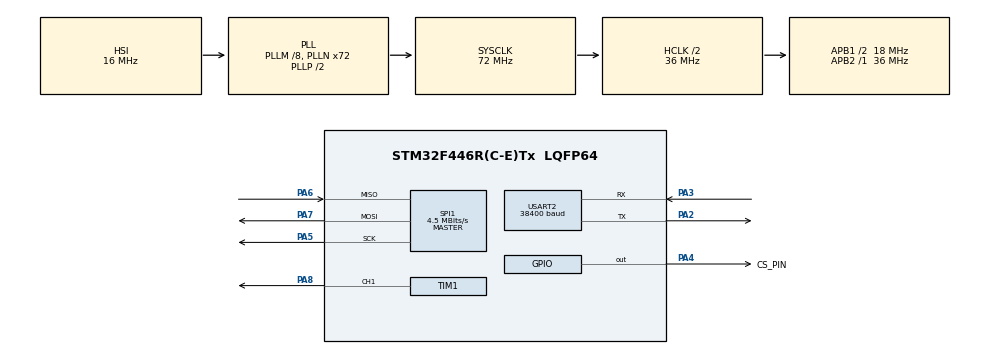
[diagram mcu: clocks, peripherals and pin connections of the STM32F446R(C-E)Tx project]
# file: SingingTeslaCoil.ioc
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FREERTOS.HEAP_NUMBER=4
FREERTOS.Mutexes01=USART_lock,Dynamic,NULL,Available
FREERTOS.Queues01=NoteQueue1,64,note,0,Dynamic,NULL,NULL
FREERTOS.Tasks01=ParseMidi,0,128,StartParseMidi,Default,ctrl,Dynamic,NULL,NULL;AudioOutput,0,128,StartAudioOutput,Default,ctrl,Dynamic,NULL,NULL
FREERTOS.configENABLE_FPU=1
Mcu.Family=STM32F4
Mcu.Name=STM32F446R(C-E)Tx
Mcu.Package=LQFP64
NVIC.PriorityGroup=NVIC_PRIORITYGROUP_4
NVIC.TIM8_TRG_COM_TIM14_IRQn=true\:15\:0\:false\:false\:true\:false\:false\:true\:true
NVIC.TimeBase=TIM8_TRG_COM_TIM14_IRQn
NVIC.TimeBaseIP=TIM14
PA2.Mode=Asynchronous
PA2.Signal=USART2_TX
PA3.Mode=Asynchronous
PA3.Signal=USART2_RX
PA4.GPIO_Label=CS_PIN
PA4.GPIO_Speed=GPIO_SPEED_FREQ_LOW
PA4.Signal=GPIO_Output
PA5.Mode=Full_Duplex_Master
PA5.Signal=SPI1_SCK
PA6.Mode=Full_Duplex_Master
PA6.Signal=SPI1_MISO
PA7.Mode=Full_Duplex_Master
PA7.Signal=SPI1_MOSI
PA8.Signal=S_TIM1_CH1
ProjectManager.HeapSize=0x200
ProjectManager.StackSize=0x400
ProjectManager.TargetToolchain=STM32CubeIDE
RCC.AHBCLKDivider=RCC_SYSCLK_DIV2
RCC.AHBFreq_Value=36000000
RCC.APB1CLKDivider=RCC_HCLK_DIV2
RCC.APB1Freq_Value=18000000
RCC.APB1TimFreq_Value=36000000
RCC.APB2Freq_Value=36000000
RCC.APB2TimFreq_Value=36000000
RCC.CortexFreq_Value=36000000
RCC.HCLKFreq_Value=36000000
RCC.PLLM=8
RCC.PLLN=72
RCC.SYSCLKFreq_VALUE=72000000
RCC.SYSCLKSource=RCC_SYSCLKSOURCE_PLLCLK
RCC.USBFreq_Value=72000000
RCC.VCOOutputFreq_Value=144000000
SH.S_TIM1_CH1.0=TIM1_CH1,PWM Generation1 CH1
SPI1.BaudRatePrescaler=SPI_BAUDRATEPRESCALER_8
SPI1.CalculateBaudRate=4.5 MBits/s
SPI1.Direction=SPI_DIRECTION_2LINES
SPI1.Mode=SPI_MODE_MASTER
SPI1.VirtualType=VM_MASTER
TIM1.Channel-PWM\ Generation1\ CH1=TIM_CHANNEL_1
TIM1.Period=1000
TIM1.Prescaler=18000
USART2.BaudRate=38400
USART2.VirtualMode=VM_ASYNC
VP_FATFS_VS_Generic.Mode=User_defined
VP_FREERTOS_VS_CMSIS_V1.Mode=CMSIS_V1
VP_SYS_VS_tim14.Mode=TIM14
board=custom

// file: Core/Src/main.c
/* USER CODE BEGIN Header */
/**
  ******************************************************************************
  * @file           : main.c
  * @brief          : Main program body
  ******************************************************************************
  * @attention
  *
  * Copyright (c) 2025 STMicroelectronics.
  * All rights reserved.
  *
  * This software is licensed under terms that can be found in the LICENSE file
  * in the root directory of this software component.
  * If no LICENSE file comes with this software, it is provided AS-IS.
  *
  ******************************************************************************
  */
/* USER CODE END Header */
#include "main.h"
#include "cmsis_os.h"
#include "fatfs.h"

/* USER CODE BEGIN Includes */
#include <stdint.h>
#include <stdio.h>
#include <stdlib.h>
#include <math.h>

#include "common.h"
#include "midi_event.h"
#include "utils.h"

/* USER CODE END Includes */

SPI_HandleTypeDef hspi1;

TIM_HandleTypeDef htim1;

UART_HandleTypeDef huart2;

osThreadId ParseMidiHandle;
osThreadId AudioOutputHandle;
osMessageQId NoteQueue1Handle;
osMutexId USART_lockHandle;

void SystemClock_Config(void);
static void MX_GPIO_Init(void);
static void MX_USART2_UART_Init(void);
static void MX_SPI1_Init(void);
static void MX_TIM1_Init(void);
void StartParseMidi(void const * argument);
void StartAudioOutput(void const * argument);

int main(void)
{

  /* USER CODE BEGIN 1 */
  void* arg;

  /* USER CODE END 1 */

  /* MCU Configuration--------------------------------------------------------*/

  /* Reset of all peripherals, Initializes the Flash interface and the Systick. */
  HAL_Init();

  /* Configure the system clock */
  SystemClock_Config();

  /* Initialize all configured peripherals */
  MX_GPIO_Init();
  MX_USART2_UART_Init();
  MX_FATFS_Init();
  MX_SPI1_Init();
  MX_TIM1_Init();

  /* Create the mutex(es) */
  /* definition and creation of USART_lock */
  osMutexDef(USART_lock);
  USART_lockHandle = osMutexCreate(osMutex(USART_lock));

  /* USER CODE BEGIN RTOS_MUTEX */

  FIL fp;        // for midi file operation
  FATFS FatFs; 	//Fatfs handle
  MIDI_header_chunk hdr; // to container header info
  FRESULT res;
  MIDI_controller *ctrl = malloc(sizeof(MIDI_controller));

  // uint8_t i = 0;

  osDelay(1000);

  res = f_mount(&FatFs, "/", 1); //1=mount now
       if (res != FR_OK) {
     	myprintf("f_mount error (%i)\r\n", res);
     	while(1);
       }

  /*list of songs currently on the sd card
   * twinkle.mid --> no chords && format 0
   * gerudo.mid --> TONS of chords (3 notes) && format 1
   * mario.mid --> unkown midi event 10
   * shoveit.mid --> broken as well
   * */
  res = f_open(&fp, "twinkle.mid", FA_READ | FA_WRITE);

  if (res != FR_OK)
  {
      myprintf("fopen error: %d\n", res);
      while(1);
  }

  hdr = parse_midi_header(&fp, hdr); // grabs header info

  ctrl->format = hdr.format;
  if(hdr.format == 0){
	  ctrl->trk_buf = &fp;
  }
  /* add mutexes, ... */
  /* USER CODE END RTOS_MUTEX */

  /* Create the queue(s) */
  /* definition and creation of NoteQueue1 */
  osMessageQDef(NoteQueue1, 64, note);
  NoteQueue1Handle = osMessageCreate(osMessageQ(NoteQueue1), NULL);

  /* Create the thread(s) */
  /* definition and creation of ParseMidi */
  osThreadDef(ParseMidi, StartParseMidi, osPriorityNormal, 0, 128);
  ParseMidiHandle = osThreadCreate(osThread(ParseMidi), (void*) ctrl);

  /* definition and creation of AudioOutput */
  osThreadDef(AudioOutput, StartAudioOutput, osPriorityNormal, 0, 128);
  AudioOutputHandle = osThreadCreate(osThread(AudioOutput), (void*) ctrl);

  /* USER CODE BEGIN RTOS_THREADS */
  /* add threads, ... */

  //might need to add a list of queues

//  myprintf("beofre parse start");
//
//  StartParseMidi(&NoteQueue1Handle);
//
//  myprintf("beofre audio output start");
//
//  StartAudioOutput(&NoteQueue1Handle);

  /* USER CODE END RTOS_THREADS */

  /* Start scheduler */
  osKernelStart();

  /* We should never get here as control is now taken by the scheduler */

  /* Infinite loop */
  while (1)
  {

  }
}

void SystemClock_Config(void)
{
  RCC_OscInitTypeDef RCC_OscInitStruct = {0};
  RCC_ClkInitTypeDef RCC_ClkInitStruct = {0};

  /** Configure the main internal regulator output voltage
  */
  __HAL_RCC_PWR_CLK_ENABLE();
  __HAL_PWR_VOLTAGESCALING_CONFIG(PWR_REGULATOR_VOLTAGE_SCALE3);

  /** Initializes the RCC Oscillators according to the specified parameters
  * in the RCC_OscInitTypeDef structure.
  */
  RCC_OscInitStruct.OscillatorType = RCC_OSCILLATORTYPE_HSI;
  RCC_OscInitStruct.HSIState = RCC_HSI_ON;
  RCC_OscInitStruct.HSICalibrationValue = RCC_HSICALIBRATION_DEFAULT;
  RCC_OscInitStruct.PLL.PLLState = RCC_PLL_ON;
  RCC_OscInitStruct.PLL.PLLSource = RCC_PLLSOURCE_HSI;
  RCC_OscInitStruct.PLL.PLLM = 8;
  RCC_OscInitStruct.PLL.PLLN = 72;
  RCC_OscInitStruct.PLL.PLLP = RCC_PLLP_DIV2;
  RCC_OscInitStruct.PLL.PLLQ = 2;
  RCC_OscInitStruct.PLL.PLLR = 2;
  if (HAL_RCC_OscConfig(&RCC_OscInitStruct) != HAL_OK)
  {
    Error_Handler();
  }

  /** Initializes the CPU, AHB and APB buses clocks
  */
  RCC_ClkInitStruct.ClockType = RCC_CLOCKTYPE_HCLK|RCC_CLOCKTYPE_SYSCLK
                              |RCC_CLOCKTYPE_PCLK1|RCC_CLOCKTYPE_PCLK2;
  RCC_ClkInitStruct.SYSCLKSource = RCC_SYSCLKSOURCE_PLLCLK;
  RCC_ClkInitStruct.AHBCLKDivider = RCC_SYSCLK_DIV2;
  RCC_ClkInitStruct.APB1CLKDivider = RCC_HCLK_DIV2;
  RCC_ClkInitStruct.APB2CLKDivider = RCC_HCLK_DIV1;

  if (HAL_RCC_ClockConfig(&RCC_ClkInitStruct, FLASH_LATENCY_1) != HAL_OK)
  {
    Error_Handler();
  }
}

static void MX_SPI1_Init(void)
{

  /* SPI1 parameter configuration*/
  hspi1.Instance = SPI1;
  hspi1.Init.Mode = SPI_MODE_MASTER;
  hspi1.Init.Direction = SPI_DIRECTION_2LINES;
  hspi1.Init.DataSize = SPI_DATASIZE_8BIT;
  hspi1.Init.CLKPolarity = SPI_POLARITY_LOW;
  hspi1.Init.CLKPhase = SPI_PHASE_1EDGE;
  hspi1.Init.NSS = SPI_NSS_SOFT;
  hspi1.Init.BaudRatePrescaler = SPI_BAUDRATEPRESCALER_8;
  hspi1.Init.FirstBit = SPI_FIRSTBIT_MSB;
  hspi1.Init.TIMode = SPI_TIMODE_DISABLE;
  hspi1.Init.CRCCalculation = SPI_CRCCALCULATION_DISABLE;
  hspi1.Init.CRCPolynomial = 10;
  if (HAL_SPI_Init(&hspi1) != HAL_OK)
  {
    Error_Handler();
  }

}

static void MX_TIM1_Init(void)
{

  TIM_MasterConfigTypeDef sMasterConfig = {0};
  TIM_OC_InitTypeDef sConfigOC = {0};
  TIM_BreakDeadTimeConfigTypeDef sBreakDeadTimeConfig = {0};

  htim1.Instance = TIM1;
  htim1.Init.Prescaler = 18000;
  htim1.Init.CounterMode = TIM_COUNTERMODE_UP;
  htim1.Init.Period = 1000;
  htim1.Init.ClockDivision = TIM_CLOCKDIVISION_DIV1;
  htim1.Init.RepetitionCounter = 0;
  htim1.Init.AutoReloadPreload = TIM_AUTORELOAD_PRELOAD_DISABLE;
  if (HAL_TIM_PWM_Init(&htim1) != HAL_OK)
  {
    Error_Handler();
  }
  sMasterConfig.MasterOutputTrigger = TIM_TRGO_RESET;
  sMasterConfig.MasterSlaveMode = TIM_MASTERSLAVEMODE_DISABLE;
  if (HAL_TIMEx_MasterConfigSynchronization(&htim1, &sMasterConfig) != HAL_OK)
  {
    Error_Handler();
  }
  sConfigOC.OCMode = TIM_OCMODE_PWM1;
  sConfigOC.Pulse = 0;
  sConfigOC.OCPolarity = TIM_OCPOLARITY_HIGH;
  sConfigOC.OCNPolarity = TIM_OCNPOLARITY_HIGH;
  sConfigOC.OCFastMode = TIM_OCFAST_DISABLE;
  sConfigOC.OCIdleState = TIM_OCIDLESTATE_RESET;
  sConfigOC.OCNIdleState = TIM_OCNIDLESTATE_RESET;
  if (HAL_TIM_PWM_ConfigChannel(&htim1, &sConfigOC, TIM_CHANNEL_1) != HAL_OK)
  {
    Error_Handler();
  }
  sBreakDeadTimeConfig.OffStateRunMode = TIM_OSSR_DISABLE;
  sBreakDeadTimeConfig.OffStateIDLEMode = TIM_OSSI_DISABLE;
  sBreakDeadTimeConfig.LockLevel = TIM_LOCKLEVEL_OFF;
  sBreakDeadTimeConfig.DeadTime = 0;
  sBreakDeadTimeConfig.BreakState = TIM_BREAK_DISABLE;
  sBreakDeadTimeConfig.BreakPolarity = TIM_BREAKPOLARITY_HIGH;
  sBreakDeadTimeConfig.AutomaticOutput = TIM_AUTOMATICOUTPUT_DISABLE;
  if (HAL_TIMEx_ConfigBreakDeadTime(&htim1, &sBreakDeadTimeConfig) != HAL_OK)
  {
    Error_Handler();
  }
  HAL_TIM_MspPostInit(&htim1);

}

static void MX_USART2_UART_Init(void)
{

  huart2.Instance = USART2;
  huart2.Init.BaudRate = 38400;
  huart2.Init.WordLength = UART_WORDLENGTH_8B;
  huart2.Init.StopBits = UART_STOPBITS_1;
  huart2.Init.Parity = UART_PARITY_NONE;
  huart2.Init.Mode = UART_MODE_TX_RX;
  huart2.Init.HwFlowCtl = UART_HWCONTROL_NONE;
  huart2.Init.OverSampling = UART_OVERSAMPLING_16;
  if (HAL_UART_Init(&huart2) != HAL_OK)
  {
    Error_Handler();
  }

}

static void MX_GPIO_Init(void)
{
  GPIO_InitTypeDef GPIO_InitStruct = {0};

  /* GPIO Ports Clock Enable */
  __HAL_RCC_GPIOA_CLK_ENABLE();

  /*Configure GPIO pin Output Level */
  HAL_GPIO_WritePin(CS_PIN_GPIO_Port, CS_PIN_Pin, GPIO_PIN_RESET);

  /*Configure GPIO pin : CS_PIN_Pin */
  GPIO_InitStruct.Pin = CS_PIN_Pin;
  GPIO_InitStruct.Mode = GPIO_MODE_OUTPUT_PP;
  GPIO_InitStruct.Pull = GPIO_NOPULL;
  GPIO_InitStruct.Speed = GPIO_SPEED_FREQ_LOW;
  HAL_GPIO_Init(CS_PIN_GPIO_Port, &GPIO_InitStruct);

}

void StartParseMidi(void const * argument)
{
  /* USER CODE BEGIN 5 */
	uint8_t cnt = 0;

	myprintf("start of parse midi");

	  MIDI_controller* ctrl = (MIDI_controller*)argument;
    switch(ctrl->format){
    case 0:
    	play_one_track(ctrl->trk_buf, ctrl);
    	break;
    case 1:
    	myprintf("CASE 1 NOT SUPPORTED...yet\n");
    	break;
    case 2:
    	myprintf("CASE 2 NOT SUPPORTED <3\n");
    	break;
    }

  /* Infinite loop */
    for(;;)
    {

    	myprintf("in parse %d\n\n", cnt);
    	osDelay(1);
    	cnt++;
  	}
  /* USER CODE END 5 */
}

void StartAudioOutput(void const * argument)
{
  /* USER CODE BEGIN StartAudioOutput */

	myprintf("start of audio output\n");
	MIDI_controller* ctrl = (MIDI_controller*)argument;

	note* recieved_note = malloc(sizeof(note));
	uint8_t cnt = 0;

  /* Infinite loop */
  for(;;)
  {
	  osEvent res;
	  res = osMessageGet(NoteQueue1Handle, osWaitForever);

	  recieved_note = (note*)res.value.p;

	  myprintf("note # %d recieved \n", recieved_note->number);

	  if((res.status != osOK) && (res.status != osEventMessage)){
		  myprintf("osMessageGet error with code %x\n", res.status);
	  }
//
			myprintf("in output %d\n", cnt);
	    	osDelay(1);
	    	cnt++;

  }
  /* USER CODE END StartAudioOutput */
}

void HAL_TIM_PeriodElapsedCallback(TIM_HandleTypeDef *htim)
{
  if (htim->Instance == TIM14) {
    HAL_IncTick();
  }
}

void Error_Handler(void)
{
  __disable_irq();
  while (1)
  {
  }
}
